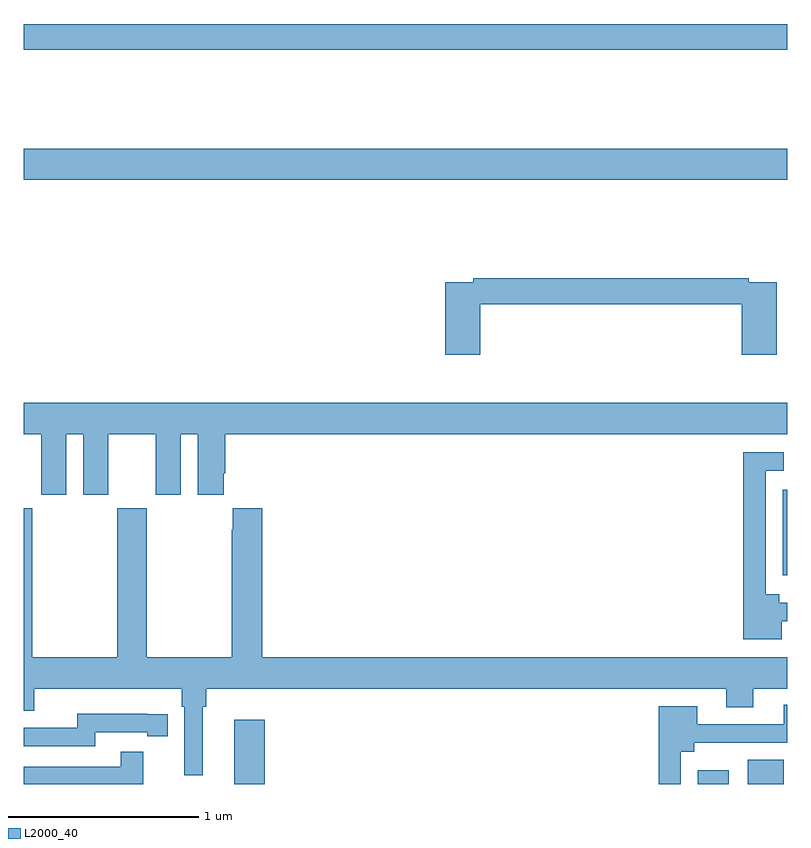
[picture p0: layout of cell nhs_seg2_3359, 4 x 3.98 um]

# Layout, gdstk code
import gdstk
lib = gdstk.Library(unit=1e-6, precision=1e-09)
def R(c, l, rs):  # rectangles x0, y0, x1, y1
    for r in rs: c.add(gdstk.rectangle(r[:2], r[2:], *l))
def P(c, l, *ps):  # polygons
    for p in ps: c.add(gdstk.Polygon(p, *l))
L2000_40 = (2000, 40)

nhs_seg2_3359 = lib.new_cell('nhs_seg2_3359')
R(nhs_seg2_3359, L2000_40, [(288.104,649.8,288.263,650.137), (290.531,649.8,290.692,649.873), (290.792,649.8,290.98,649.927), (290.975,650.892,291,651.34), (287,652.964,291,653.128), (287,653.644,291,653.78)])
P(nhs_seg2_3359, L2000_40, [(289.391,652.312),(290.762,652.312),(290.762,652.047),(290.945,652.047),(290.945,652.428),(290.798,652.428),(290.798,652.448),(289.354,652.448),(289.354,652.428),(289.208,652.428),(289.208,652.047),(289.391,652.047)],
  [(287.224,651.632),(287.312,651.632),(287.312,651.315),(287.443,651.315),(287.443,651.632),(287.693,651.632),(287.693,651.315),(287.824,651.315),(287.824,651.632),(287.912,651.632),(287.912,651.315),(288.049,651.315),(288.049,651.427),(288.056,651.427),(288.056,651.632),(291,651.632),(291,651.796),(287,651.796),(287,651.632),(287.093,651.632),(287.093,651.315),(287.224,651.315)],
  [(290.971,650.652),(291,650.652),(291,650.748),(290.956,650.748),(290.956,650.794),(290.886,650.794),(290.886,651.441),(290.98,651.441),(290.98,651.537),(290.77,651.537),(290.77,650.558),(290.971,650.558)],
  [(287.046,651.244),(287,651.244),(287,650.183),(287.056,650.183),(287.056,650.3),(287.828,650.3),(287.828,650.204),(287.841,650.204),(287.841,649.845),(287.938,649.845),(287.938,650.204),(287.957,650.204),(287.957,650.3),(290.681,650.3),(290.681,650.201),(290.821,650.201),(290.821,650.3),(291,650.3),(291,650.464),(288.251,650.464),(288.251,651.244),(288.095,651.244),(288.095,651.131),(288.091,651.131),(288.091,650.464),(287.646,650.464),(287.646,651.244),(287.491,651.244),(287.491,650.464),(287.046,650.464)],
  [(290.442,649.97),(290.512,649.97),(290.512,650.016),(291,650.016),(291,650.215),(290.981,650.215),(290.981,650.112),(290.527,650.112),(290.527,650.206),(290.326,650.206),(290.326,649.8),(290.442,649.8)],
  [(287.376,650.07),(287.648,650.07),(287.648,650.05),(287.756,650.05),(287.756,650.166),(287.648,650.166),(287.648,650.167),(287.28,650.167),(287.28,650.094),(287,650.094),(287,649.998),(287.376,649.998)],
  [(287.627,649.969),(287.509,649.969),(287.509,649.89),(287,649.89),(287,649.8),(287.627,649.8)])

lib.write_gds('nhs_seg2_3359.gds')
